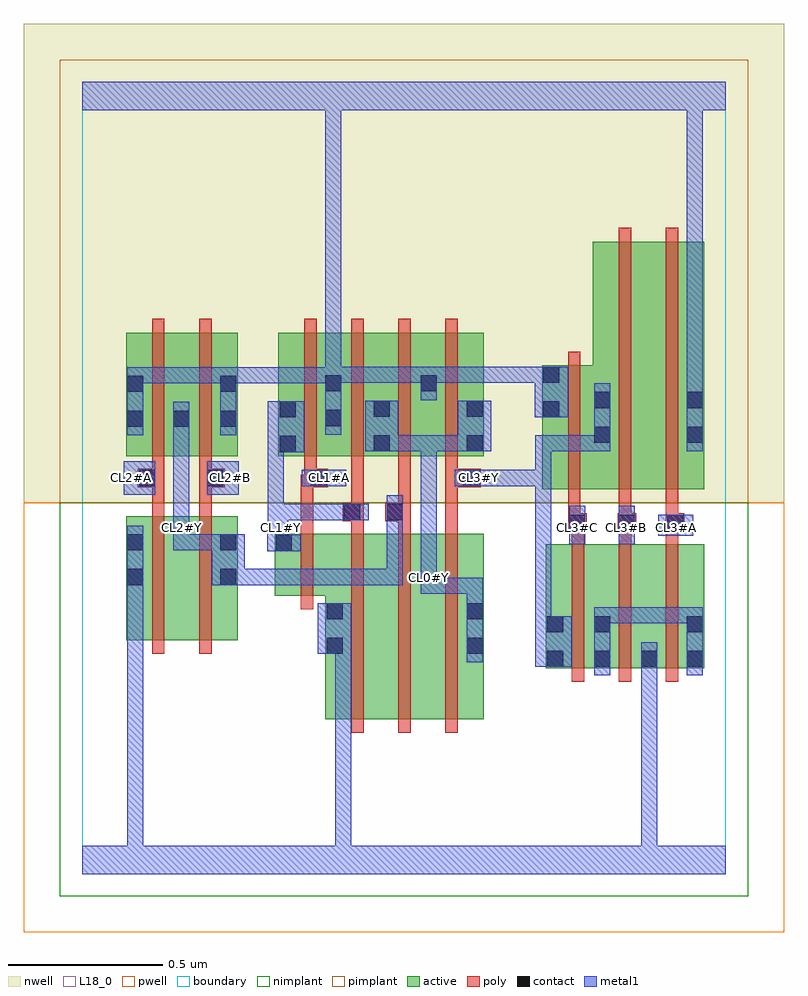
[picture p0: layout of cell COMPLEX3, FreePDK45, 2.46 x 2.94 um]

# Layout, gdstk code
import gdstk
lib = gdstk.Library(unit=1e-6, precision=1e-09)
def R(c, l, rs):  # rectangles x0, y0, x1, y1
    for r in rs: c.add(gdstk.rectangle(r[:2], r[2:], *l))
def A(c, l, x, y, w, h, nx, ny, dx, dy):  # array of equal rectangles
    R(c, l, [(x+i*dx, y+j*dy, x+i*dx+w, y+j*dy+h) for i in range(nx) for j in range(ny)])
active = (1, 0)
pwell = (2, 0)
nwell = (3, 0)
nimplant = (4, 0)
pimplant = (5, 0)
poly = (9, 0)
contact = (10, 0)
metal1 = (11, 0)
L18_0 = (18, 0)
boundary = (235, 0)

complex3 = lib.new_cell('COMPLEX3')
R(complex3, active, [(0.786,0.5,0.966,1.1), (0.966,0.5,1.118,1.1), (1.118,0.5,1.298,1.1), (1.238,0.556,1.298,1.1), (1.498,0.666,1.558,1.066), (1.498,0.666,1.71,1.066), (1.65,0.666,1.862,1.066), (1.65,0.666,1.71,0.838), (1.802,0.666,2.01,1.066), (1.802,0.666,1.862,0.726), (1.95,0.666,2.01,1.066), (0.786,0.708,0.846,1.1), (0.142,0.756,0.202,1.156), (0.142,0.756,0.322,1.156), (0.322,0.756,0.502,1.156), (0.442,0.756,0.502,1.156), (0.622,0.9,0.846,1.1), (0.622,0.956,0.682,1.1), (1.486,1.244,1.546,1.644), (1.486,1.244,1.71,1.644), (1.65,1.244,1.83,2.044), (1.83,1.244,2.01,2.044), (1.95,1.244,2.01,2.044), (0.142,1.35,0.35,1.75), (0.142,1.35,0.202,1.644), (0.29,1.35,0.502,1.75), (0.29,1.35,0.35,1.644), (0.442,1.35,0.502,1.644), (0.634,1.35,0.842,1.75), (0.634,1.35,0.694,1.644), (0.782,1.35,0.842,1.644), (0.782,1.35,0.998,1.75), (0.938,1.35,1.15,1.75), (0.938,1.35,0.998,1.644), (1.09,1.35,1.298,1.75), (1.09,1.35,1.15,1.644), (1.238,1.35,1.298,1.644), (1.65,1.39,1.71,2.044)])
R(complex3, pwell, [(-0.188,-0.188,2.268,1.2)])
R(complex3, nwell, [(-0.188,1.2,2.268,2.748)])
R(complex3, nimplant, [(-0.072,-0.072,2.152,1.2)])
R(complex3, pimplant, [(-0.072,1.2,2.152,2.632)])
A(complex3, poly, 0.87, 0.456, 0.04, 0.688, 3, 1, 0.152, 0)
A(complex3, poly, 1.582, 0.622, 0.04, 0.488, 3, 1, 0.152, 0)
A(complex3, poly, 1.582, 1.07, 0.04, 0.076, 3, 1, 0.152, 0)
A(complex3, poly, 0.718, 1.306, 0.04, 0.488, 4, 1, 0.152, 0)
R(complex3, poly, [(0.226,0.712,0.266,1.2), (0.378,0.712,0.418,1.2), (0.706,0.856,0.746,1.144), (0.706,1.104,0.746,1.29), (0.87,1.104,0.91,1.18), (1.022,1.104,1.062,1.18), (1.174,1.104,1.214,1.29), (1.57,1.106,1.63,1.166), (1.582,1.106,1.622,1.146), (1.582,1.106,1.622,1.146), (1.73,1.106,1.79,1.166), (1.734,1.106,1.774,1.146), (1.734,1.106,1.774,1.146), (1.886,1.106,1.946,1.166), (1.57,1.126,1.61,1.24), (1.734,1.126,1.774,1.24), (1.886,1.126,1.926,1.24), (1.886,1.126,1.926,1.166), (1.886,1.126,1.926,1.166), (0.842,1.14,0.91,1.2), (0.98,1.14,1.062,1.2), (0.226,1.16,0.266,1.29), (0.378,1.16,0.418,1.29), (0.87,1.16,0.91,1.2), (0.87,1.16,0.91,1.2), (0.87,1.16,0.91,1.346), (1.022,1.16,1.062,1.2), (1.022,1.16,1.062,1.2), (1.022,1.16,1.062,1.346), (1.57,1.2,1.61,1.688), (1.734,1.2,1.774,2.088), (1.886,1.2,1.926,2.088), (0.18,1.25,0.266,1.31), (0.378,1.25,0.46,1.31), (0.706,1.25,0.758,1.29), (0.718,1.25,0.758,1.29), (0.718,1.25,0.794,1.31), (1.174,1.25,1.214,1.29), (1.174,1.25,1.214,1.29), (1.174,1.25,1.288,1.31), (0.226,1.27,0.266,1.31), (0.226,1.27,0.266,1.31), (0.226,1.27,0.266,1.346), (0.378,1.27,0.418,1.31), (0.378,1.27,0.418,1.31), (0.378,1.27,0.418,1.346), (0.718,1.27,0.758,1.346), (1.174,1.27,1.214,1.346), (0.226,1.306,0.266,1.794), (0.378,1.306,0.418,1.794)])
A(complex3, contact, 1.502, 0.67, 0.052, 0.052, 3, 1, 0.152, 0)
R(complex3, contact, [(1.954,0.67,2.006,0.722), (0.79,0.712,0.842,0.764), (1.242,0.712,1.294,0.764), (1.502,0.782,1.554,0.834), (1.654,0.782,1.706,0.834), (1.954,0.782,2.006,0.834), (0.79,0.824,0.842,0.876), (1.242,0.824,1.294,0.876), (0.146,0.934,0.198,0.986), (0.446,0.934,0.498,0.986), (0.626,1.044,0.678,1.096), (0.146,1.046,0.198,1.098), (0.446,1.046,0.498,1.098), (1.574,1.11,1.626,1.162), (1.734,1.11,1.786,1.162), (1.89,1.11,1.942,1.162), (0.846,1.144,0.898,1.196), (0.984,1.144,1.036,1.196), (0.184,1.254,0.236,1.306), (0.404,1.254,0.456,1.306), (0.738,1.254,0.79,1.306), (1.232,1.254,1.284,1.306), (0.638,1.364,0.69,1.416), (0.942,1.366,0.994,1.418), (1.242,1.366,1.294,1.418), (1.654,1.394,1.706,1.446), (1.954,1.394,2.006,1.446), (0.146,1.446,0.198,1.498), (0.294,1.446,0.346,1.498), (0.446,1.446,0.498,1.498), (0.786,1.448,0.838,1.5), (0.638,1.476,0.69,1.528), (1.49,1.476,1.542,1.528), (0.942,1.478,0.994,1.53), (1.242,1.478,1.294,1.53), (1.654,1.506,1.706,1.558), (1.954,1.506,2.006,1.558), (0.146,1.558,0.198,1.61), (0.446,1.558,0.498,1.61), (0.786,1.56,0.838,1.612), (1.094,1.56,1.146,1.612), (1.49,1.588,1.542,1.64)])
R(complex3, metal1, [(0,0,2.08,0.092), (0.146,0.04,0.198,0.092), (0.146,0.04,0.198,0.092), (0.146,0.04,0.198,0.092), (0.146,0.04,0.198,0.092), (0.146,0.04,0.198,0.092), (0.146,0.04,0.198,0.092), (0.146,0.04,0.198,0.092), (0.146,0.04,0.198,0.092), (0.146,0.04,0.198,0.092), (0.146,0.04,0.198,0.092), (0.146,0.04,0.198,0.092), (0.146,0.04,0.198,0.092), (0.146,0.04,0.198,0.958), (0.818,0.04,0.87,0.092), (0.818,0.04,0.87,0.092), (0.818,0.04,0.87,0.092), (0.818,0.04,0.87,0.092), (0.818,0.04,0.87,0.092), (0.818,0.04,0.87,0.092), (0.818,0.04,0.87,0.092), (0.818,0.04,0.87,0.092), (0.818,0.04,0.87,0.764), (1.806,0.04,1.858,0.092), (1.806,0.04,1.858,0.092), (1.806,0.04,1.858,0.092), (1.806,0.04,1.858,0.092), (1.806,0.04,1.858,0.092), (1.806,0.04,1.858,0.092), (1.806,0.04,1.858,0.092), (1.806,0.04,1.858,0.092), (1.806,0.04,1.858,0.092), (1.806,0.04,1.858,0.092), (1.806,0.04,1.858,0.092), (1.806,0.04,1.858,0.092), (1.806,0.04,1.858,0.694), (1.654,0.642,1.706,0.862), (1.806,0.642,1.858,0.75), (1.954,0.642,2.006,0.862), (1.464,0.67,1.582,0.834), (1.242,0.684,1.294,0.904), (0.762,0.712,0.87,0.876), (1.464,0.782,1.516,1.306), (1.654,0.81,1.706,0.862), (1.654,0.81,1.706,0.862), (1.654,0.81,1.816,0.862), (1.764,0.81,1.816,0.862), (1.764,0.81,2.006,0.862), (1.954,0.81,2.006,0.862), (1.954,0.81,2.006,0.862), (1.242,0.852,1.294,0.958), (0.146,0.906,0.198,1.126), (1.094,0.906,1.146,1.014), (1.094,0.906,1.294,0.958), (1.242,0.906,1.294,0.958), (1.242,0.906,1.294,0.958), (1.242,0.906,1.294,0.958), (0.418,0.934,0.526,1.098), (0.474,0.934,0.526,0.986), (0.474,0.934,0.528,0.986), (0.476,0.934,0.528,0.986), (0.476,0.934,0.528,0.986), (0.476,0.934,0.704,0.986), (0.652,0.934,0.704,0.986), (0.652,0.934,0.828,0.986), (0.776,0.934,0.828,0.986), (0.776,0.934,0.828,0.986), (0.776,0.934,0.828,0.986), (0.776,0.934,0.828,0.986), (0.776,0.934,0.828,0.986), (0.776,0.934,1.036,0.986), (0.984,0.934,1.036,0.986), (0.984,0.934,1.036,1.168), (1.094,0.962,1.146,1.418), (0.598,1.044,0.706,1.096), (0.6,1.044,0.652,1.118), (0.294,1.046,0.346,1.098), (0.294,1.046,0.346,1.098), (0.294,1.046,0.418,1.098), (0.294,1.046,0.346,1.174), (0.366,1.046,0.418,1.098), (0.366,1.046,0.47,1.098), (0.6,1.066,0.666,1.196), (1.574,1.066,1.626,1.19), (1.734,1.066,1.786,1.19), (1.862,1.094,1.974,1.162), (0.984,1.116,1.036,1.168), (0.984,1.116,1.036,1.168), (0.984,1.116,1.036,1.224), (0.294,1.122,0.346,1.47), (0.6,1.144,0.652,1.196), (0.6,1.144,0.652,1.196), (0.6,1.144,0.652,1.416), (0.614,1.144,0.666,1.196), (0.614,1.144,0.666,1.196), (0.614,1.144,0.856,1.196), (0.804,1.144,0.856,1.196), (0.804,1.144,0.87,1.196), (0.818,1.144,0.926,1.196), (0.134,1.226,0.236,1.334), (0.404,1.226,0.506,1.334), (0.71,1.254,0.854,1.306), (1.204,1.254,1.334,1.306), (1.282,1.254,1.334,1.306), (1.282,1.254,1.334,1.306), (1.282,1.254,1.516,1.306), (1.464,1.254,1.516,1.306), (1.464,1.254,1.516,1.306), (1.464,1.254,1.516,1.306), (1.464,1.254,1.516,1.418), (0.6,1.364,0.718,1.528), (0.914,1.366,1.022,1.53), (0.97,1.366,1.146,1.418), (1.094,1.366,1.146,1.418), (1.094,1.366,1.146,1.418), (1.094,1.366,1.146,1.418), (1.094,1.366,1.146,1.418), (1.094,1.366,1.146,1.418), (1.094,1.366,1.266,1.418), (1.214,1.366,1.266,1.418), (1.214,1.366,1.266,1.418), (1.214,1.366,1.322,1.53), (1.464,1.366,1.516,1.418), (1.464,1.366,1.516,1.418), (1.464,1.366,1.516,1.418), (1.464,1.366,1.706,1.418), (1.654,1.366,1.706,1.586), (1.954,1.366,2.006,1.586), (0.146,1.418,0.198,1.638), (0.294,1.418,0.346,1.47), (0.294,1.418,0.346,1.47), (0.294,1.418,0.346,1.526), (0.446,1.418,0.498,1.638), (0.786,1.42,0.838,1.64), (1.462,1.476,1.57,1.64), (1.094,1.532,1.146,1.64), (1.954,1.534,2.006,2.52), (0.146,1.586,0.308,1.638), (0.256,1.586,0.308,1.638), (0.256,1.586,0.308,1.638), (0.256,1.586,0.308,1.638), (0.256,1.586,0.418,1.638), (0.366,1.586,0.418,1.638), (0.366,1.586,0.498,1.638), (0.446,1.586,0.638,1.638), (0.586,1.586,0.638,1.638), (0.586,1.586,0.638,1.638), (0.586,1.586,0.638,1.638), (0.586,1.586,0.838,1.638), (0.786,1.588,0.838,1.64), (0.786,1.588,0.838,1.64), (0.786,1.588,0.838,1.64), (0.786,1.588,0.838,1.64), (0.786,1.588,1.036,1.64), (0.786,1.588,0.838,2.52), (0.984,1.588,1.036,1.64), (0.984,1.588,1.146,1.64), (1.094,1.588,1.146,1.64), (1.094,1.588,1.146,1.64), (1.094,1.588,1.376,1.64), (1.324,1.588,1.376,1.64), (1.324,1.588,1.376,1.64), (1.324,1.588,1.376,1.64), (1.324,1.588,1.514,1.64), (0,2.468,2.08,2.56), (0.786,2.468,0.838,2.52), (0.786,2.468,0.838,2.52), (0.786,2.468,0.838,2.52), (0.786,2.468,0.838,2.52), (0.786,2.468,0.838,2.52), (0.786,2.468,0.838,2.52), (0.786,2.468,0.838,2.52), (0.786,2.468,0.838,2.52), (0.786,2.468,0.838,2.52), (0.786,2.468,0.838,2.52), (0.786,2.468,0.838,2.52), (0.786,2.468,0.838,2.52), (0.786,2.468,0.838,2.52), (0.786,2.468,0.838,2.52), (1.954,2.468,2.006,2.52), (1.954,2.468,2.006,2.52), (1.954,2.468,2.006,2.52), (1.954,2.468,2.006,2.52), (1.954,2.468,2.006,2.52), (1.954,2.468,2.006,2.52), (1.954,2.468,2.006,2.52), (1.954,2.468,2.006,2.52)])
A(complex3, L18_0, 1.574, 1.094, 0.052, 0.052, 3, 1, 0.16, 0)
A(complex3, L18_0, 0.134, 1.254, 0.052, 0.052, 3, 1, 0.32, 0)
R(complex3, L18_0, [(0,0,2.08,0.092), (0.146,0.04,0.198,0.092), (0.146,0.04,0.198,0.092), (0.146,0.04,0.198,0.092), (0.146,0.04,0.198,0.092), (0.146,0.04,0.198,0.092), (0.146,0.04,0.198,0.092), (0.146,0.04,0.198,0.092), (0.146,0.04,0.198,0.092), (0.146,0.04,0.198,0.092), (0.146,0.04,0.198,0.092), (0.146,0.04,0.198,0.092), (0.146,0.04,0.198,0.092), (0.146,0.04,0.198,0.958), (0.818,0.04,0.87,0.092), (0.818,0.04,0.87,0.092), (0.818,0.04,0.87,0.092), (0.818,0.04,0.87,0.092), (0.818,0.04,0.87,0.092), (0.818,0.04,0.87,0.092), (0.818,0.04,0.87,0.092), (0.818,0.04,0.87,0.092), (0.818,0.04,0.87,0.764), (1.806,0.04,1.858,0.092), (1.806,0.04,1.858,0.092), (1.806,0.04,1.858,0.092), (1.806,0.04,1.858,0.092), (1.806,0.04,1.858,0.092), (1.806,0.04,1.858,0.092), (1.806,0.04,1.858,0.092), (1.806,0.04,1.858,0.092), (1.806,0.04,1.858,0.092), (1.806,0.04,1.858,0.092), (1.806,0.04,1.858,0.092), (1.806,0.04,1.858,0.092), (1.806,0.04,1.858,0.694), (1.806,0.642,1.858,0.75), (1.464,0.67,1.582,0.834), (1.242,0.684,1.294,0.904), (0.762,0.712,0.87,0.876), (1.464,0.782,1.516,1.306), (1.242,0.852,1.294,0.958), (0.146,0.906,0.198,1.126), (1.094,0.906,1.146,1.014), (1.094,0.906,1.294,0.958), (1.242,0.906,1.294,0.958), (1.242,0.906,1.294,0.958), (1.242,0.906,1.294,0.958), (0.418,0.934,0.526,1.098), (0.474,0.934,0.526,0.986), (0.474,0.934,0.528,0.986), (0.476,0.934,0.528,0.986), (0.476,0.934,0.528,0.986), (0.476,0.934,0.704,0.986), (0.652,0.934,0.704,0.986), (0.652,0.934,0.828,0.986), (0.776,0.934,0.828,0.986), (0.776,0.934,0.828,0.986), (0.776,0.934,0.828,0.986), (0.776,0.934,0.828,0.986), (0.776,0.934,0.828,0.986), (0.776,0.934,1.036,0.986), (0.984,0.934,1.036,0.986), (0.984,0.934,1.036,1.168), (1.094,0.934,1.146,0.986), (1.094,0.962,1.146,1.418), (0.598,1.044,0.706,1.096), (0.6,1.044,0.652,1.118), (0.294,1.046,0.346,1.098), (0.294,1.046,0.346,1.098), (0.294,1.046,0.346,1.174), (0.294,1.046,0.418,1.098), (0.366,1.046,0.418,1.098), (0.366,1.046,0.47,1.098), (0.6,1.066,0.666,1.196), (1.574,1.066,1.626,1.19), (1.734,1.066,1.786,1.19), (0.294,1.094,0.346,1.146), (0.614,1.094,0.666,1.146), (1.862,1.094,1.974,1.162), (0.984,1.116,1.036,1.168), (0.984,1.116,1.036,1.168), (0.984,1.116,1.036,1.224), (0.294,1.122,0.346,1.47), (0.6,1.144,0.652,1.196), (0.6,1.144,0.652,1.196), (0.6,1.144,0.652,1.416), (0.614,1.144,0.666,1.196), (0.614,1.144,0.666,1.196), (0.614,1.144,0.856,1.196), (0.804,1.144,0.856,1.196), (0.804,1.144,0.87,1.196), (0.818,1.144,0.926,1.196), (0.134,1.226,0.236,1.334), (0.404,1.226,0.506,1.334), (0.71,1.254,0.854,1.306), (1.204,1.254,1.334,1.306), (1.254,1.254,1.306,1.306), (1.282,1.254,1.334,1.306), (1.282,1.254,1.334,1.306), (1.282,1.254,1.516,1.306), (1.464,1.254,1.516,1.306), (1.464,1.254,1.516,1.306), (1.464,1.254,1.516,1.306), (1.464,1.254,1.516,1.418), (0.6,1.364,0.718,1.528), (0.914,1.366,1.022,1.53), (0.97,1.366,1.146,1.418), (1.094,1.366,1.146,1.418), (1.094,1.366,1.146,1.418), (1.094,1.366,1.146,1.418), (1.094,1.366,1.146,1.418), (1.094,1.366,1.146,1.418), (1.094,1.366,1.266,1.418), (1.214,1.366,1.266,1.418), (1.214,1.366,1.266,1.418), (1.214,1.366,1.322,1.53), (1.464,1.366,1.516,1.418), (1.464,1.366,1.516,1.418), (1.464,1.366,1.516,1.418), (1.464,1.366,1.706,1.418), (1.654,1.366,1.706,1.586), (1.954,1.366,2.006,1.586), (0.146,1.418,0.198,1.638), (0.294,1.418,0.346,1.47), (0.294,1.418,0.346,1.47), (0.294,1.418,0.346,1.526), (0.446,1.418,0.498,1.638), (0.786,1.42,0.838,1.64), (1.462,1.476,1.57,1.64), (1.094,1.532,1.146,1.64), (1.954,1.534,2.006,2.52), (0.146,1.586,0.308,1.638), (0.256,1.586,0.308,1.638), (0.256,1.586,0.308,1.638), (0.256,1.586,0.308,1.638), (0.256,1.586,0.418,1.638), (0.366,1.586,0.418,1.638), (0.366,1.586,0.498,1.638), (0.446,1.586,0.638,1.638), (0.586,1.586,0.638,1.638), (0.586,1.586,0.638,1.638), (0.586,1.586,0.638,1.638), (0.586,1.586,0.838,1.638), (0.786,1.588,0.838,1.64), (0.786,1.588,0.838,1.64), (0.786,1.588,0.838,1.64), (0.786,1.588,0.838,1.64), (0.786,1.588,0.838,2.52), (0.786,1.588,1.036,1.64), (0.984,1.588,1.036,1.64), (0.984,1.588,1.146,1.64), (1.094,1.588,1.146,1.64), (1.094,1.588,1.146,1.64), (1.094,1.588,1.376,1.64), (1.324,1.588,1.376,1.64), (1.324,1.588,1.376,1.64), (1.324,1.588,1.376,1.64), (1.324,1.588,1.514,1.64), (0,2.468,2.08,2.56), (0.786,2.468,0.838,2.52), (0.786,2.468,0.838,2.52), (0.786,2.468,0.838,2.52), (0.786,2.468,0.838,2.52), (0.786,2.468,0.838,2.52), (0.786,2.468,0.838,2.52), (0.786,2.468,0.838,2.52), (0.786,2.468,0.838,2.52), (0.786,2.468,0.838,2.52), (0.786,2.468,0.838,2.52), (0.786,2.468,0.838,2.52), (0.786,2.468,0.838,2.52), (0.786,2.468,0.838,2.52), (0.786,2.468,0.838,2.52), (1.954,2.468,2.006,2.52), (1.954,2.468,2.006,2.52), (1.954,2.468,2.006,2.52), (1.954,2.468,2.006,2.52), (1.954,2.468,2.006,2.52), (1.954,2.468,2.006,2.52), (1.954,2.468,2.006,2.52), (1.954,2.468,2.006,2.52)])
R(complex3, boundary, [(0,0,2.08,2.56)])
complex3.add(gdstk.Label('CL0#Y', (1.12,0.96), layer=11, texttype=0))
complex3.add(gdstk.Label('CL1#A', (0.8,1.28), layer=11, texttype=0))
complex3.add(gdstk.Label('CL1#Y', (0.64,1.12), layer=11, texttype=0))
complex3.add(gdstk.Label('CL2#A', (0.16,1.28), layer=11, texttype=0))
complex3.add(gdstk.Label('CL2#B', (0.48,1.28), layer=11, texttype=0))
complex3.add(gdstk.Label('CL2#Y', (0.32,1.12), layer=11, texttype=0))
complex3.add(gdstk.Label('CL3#A', (1.92,1.12), layer=11, texttype=0))
complex3.add(gdstk.Label('CL3#B', (1.76,1.12), layer=11, texttype=0))
complex3.add(gdstk.Label('CL3#C', (1.6,1.12), layer=11, texttype=0))
complex3.add(gdstk.Label('CL3#Y', (1.28,1.28), layer=11, texttype=0))

lib.write_gds('COMPLEX3.gds')
